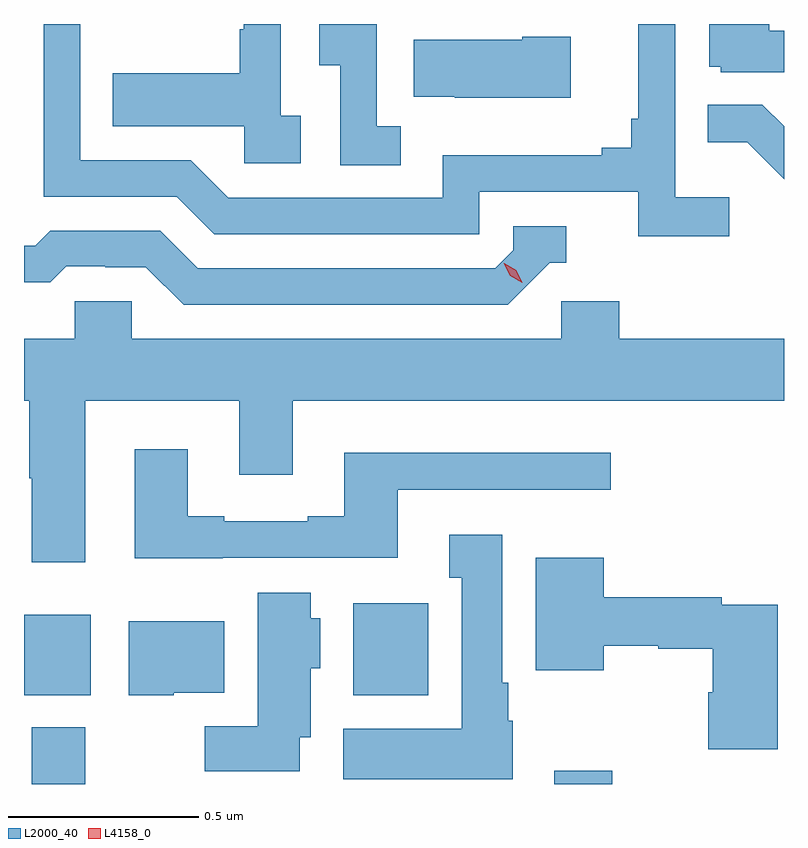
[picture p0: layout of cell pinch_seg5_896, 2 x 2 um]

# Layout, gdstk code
import gdstk
lib = gdstk.Library(unit=1e-6, precision=1e-09)
def R(c, l, rs):  # rectangles x0, y0, x1, y1
    for r in rs: c.add(gdstk.rectangle(r[:2], r[2:], *l))
def P(c, l, *ps):  # polygons
    for p in ps: c.add(gdstk.Polygon(p, *l))
L2000_40 = (2000, 40)
L4158_0 = (4158, 0)

pinch_seg5_896 = lib.new_cell('pinch_seg5_896')
R(pinch_seg5_896, L2000_40, [(839.987,889.052,840.127,889.201), (841.361,889.052,841.514,889.087), (839.966,889.286,840.142,889.498), (840.833,889.286,841.03,889.528)])
P(pinch_seg5_896, L2000_40, [(840.694,890.81),(840.642,890.81),(840.642,891.052),(840.544,891.052),(840.544,891.038),(840.534,891.038),(840.534,890.923),(840.199,890.923),(840.199,890.783),(840.546,890.783),(840.546,890.685),(840.694,890.685)],
  [(841.966,891.034),(841.927,891.034),(841.927,891.052),(841.769,891.052),(841.769,890.94),(841.8,890.94),(841.8,890.925),(841.966,890.925)],
  [(841.822,890.596),(841.68,890.596),(841.68,891.052),(841.583,891.052),(841.583,890.803),(841.564,890.803),(841.564,890.726),(841.487,890.726),(841.487,890.707),(841.068,890.707),(841.068,890.595),(840.504,890.595),(840.405,890.694),(840.114,890.694),(840.114,891.052),(840.018,891.052),(840.018,890.598),(840.368,890.598),(840.467,890.499),(841.164,890.499),(841.164,890.61),(841.583,890.61),(841.583,890.494),(841.822,890.494)],
  [(840.958,890.783),(840.894,890.783),(840.894,891.052),(840.743,891.052),(840.743,890.944),(840.798,890.944),(840.798,890.68),(840.958,890.68)],
  [(841.405,891.018),(841.277,891.018),(841.277,891.01),(840.991,891.01),(840.991,890.861),(841.099,890.861),(841.099,890.858),(841.405,890.858)],
  [(841.966,890.783),(841.909,890.84),(841.765,890.84),(841.765,890.741),(841.869,890.741),(841.966,890.644)],
  [(841.35,890.424),(841.393,890.424),(841.393,890.52),(841.254,890.52),(841.254,890.457),(841.206,890.409),(840.423,890.409),(840.324,890.508),(840.035,890.508),(839.996,890.469),(839.966,890.469),(839.966,890.373),(840.035,890.373),(840.077,890.415),(840.18,890.415),(840.18,890.412),(840.287,890.412),(840.386,890.313),(841.239,890.313)],
  [(840.127,890.06),(840.533,890.06),(840.533,889.866),(840.673,889.866),(840.673,890.06),(841.966,890.06),(841.966,890.224),(841.532,890.224),(841.532,890.322),(841.38,890.322),(841.38,890.224),(840.249,890.224),(840.249,890.322),(840.099,890.322),(840.099,890.224),(839.966,890.224),(839.966,890.06),(839.98,890.06),(839.98,889.856),(839.987,889.856),(839.987,889.635),(840.127,889.635)],
  [(840.489,889.647),(840.949,889.647),(840.949,889.827),(841.51,889.827),(841.51,889.924),(840.809,889.924),(840.809,889.756),(840.713,889.756),(840.713,889.743),(840.493,889.743),(840.493,889.756),(840.397,889.756),(840.397,889.933),(840.257,889.933),(840.257,889.646),(840.489,889.646)],
  [(841.252,889.218),(841.24,889.218),(841.24,889.318),(841.225,889.318),(841.225,889.708),(841.085,889.708),(841.085,889.595),(841.118,889.595),(841.118,889.198),(840.806,889.198),(840.806,889.064),(841.252,889.064)],
  [(841.949,889.524),(841.802,889.524),(841.802,889.544),(841.492,889.544),(841.492,889.648),(841.313,889.648),(841.313,889.352),(841.492,889.352),(841.492,889.416),(841.635,889.416),(841.635,889.408),(841.778,889.408),(841.778,889.293),(841.766,889.293),(841.766,889.143),(841.949,889.143)],
  [(840.691,889.175),(840.721,889.175),(840.721,889.356),(840.745,889.356),(840.745,889.488),(840.721,889.488),(840.721,889.555),(840.581,889.555),(840.581,889.204),(840.442,889.204),(840.442,889.086),(840.691,889.086)],
  [(840.36,889.292),(840.493,889.292),(840.493,889.48),(840.242,889.48),(840.242,889.286),(840.36,889.286)])
P(pinch_seg5_896, L4158_0, [(841.277,890.371),(841.246,890.39),(841.229,890.423),(841.229,890.423),(841.23,890.423),(841.261,890.404),(841.277,890.371),(841.277,890.371)])

lib.write_gds('pinch_seg5_896.gds')
